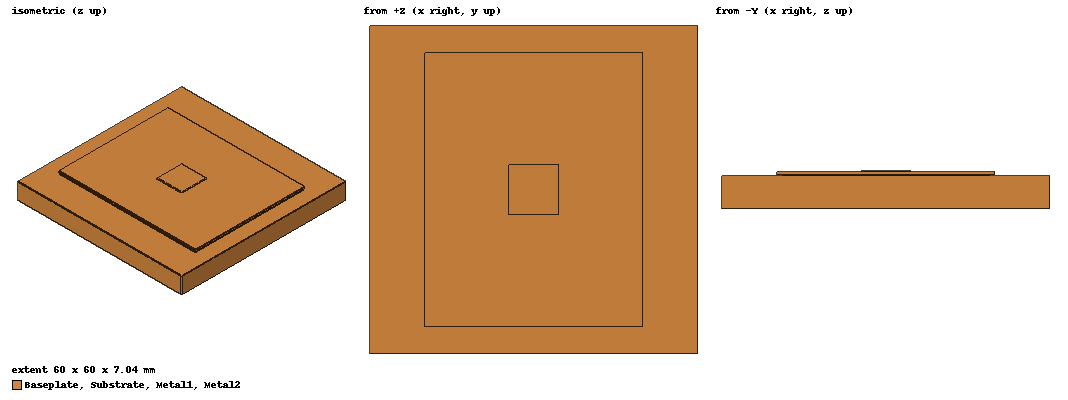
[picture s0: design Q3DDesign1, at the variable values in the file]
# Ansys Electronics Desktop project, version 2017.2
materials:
  vacuum: permittivity=1
  copper: permeability=0.999991 conductivity=58000000
  Al_N: permittivity=8.8

design Q3DDesign1 (Q3D Extractor, model units mm)
options: SParamCalcMethod=EqTransLine Calculate_Lossy_Dielectrics
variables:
  Width = 9mm
  Length = 9mm
  XTrace = (60.0mm -Width)/2
  YTrace = (60.0mm -Length)/2
  ZTrace = 6.84mm
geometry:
  Baseplate [copper] = box(corner=(0mm, 0mm, 0mm), size=(60mm, 60mm, 6mm))
  Metal1 [copper] = box(corner=(11mm, 6mm, 6mm), size=(38mm, 48mm, 0.2mm))
  Substrate [Al_N] = box(corner=(10mm, 5mm, 6.2mm), size=(40mm, 50mm, 0.64mm))
  Metal2 [copper] = box(corner=(XTrace, YTrace, ZTrace), size=(Width, Length, 0.2mm))
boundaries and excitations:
  SignalNet1: SignalNet Objects=Metal2
  Source1: Source Faces=Metal2.face(-y) Net=SignalNet1
  Sink1: Sink Faces=Metal2.face(+y) Net=SignalNet1
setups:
  Setup1: Matrix AdaptiveFreq=100kHz AC{MaxPass=10 MinPass=10 MinConvPass=1 PerError=0.5 PerRefine=30}
    sweep Sweep1: 10kHz to 1000kHz step 10kHz; Type=Discrete
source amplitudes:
  SignalNet1:Source1: AC 1A
  SignalNet1: Cap 1V 0deg
  SignalNet1:Source1: DC 1A
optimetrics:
  ParametricSetup1: Parametric Sim._Setups=[Setup1]
    sweep Width: LINC 1.2mm 10.0mm 5
    sweep Length: LINC 1.2mm 40.0mm 5
